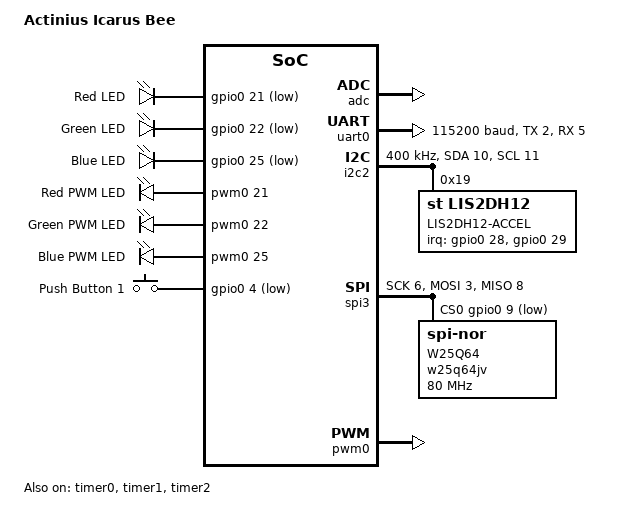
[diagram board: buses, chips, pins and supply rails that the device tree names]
/*
 * Copyright (c) 2021 Actinius
 *
 * SPDX-License-Identifier: Apache-2.0
 */

/ {
	model = "Actinius Icarus Bee";
	compatible = "actinius,icarus_bee";

	chosen {
		zephyr,console = &uart0;
		zephyr,shell-uart = &uart0;
		zephyr,uart-mcumgr = &uart0;
	};

	leds {
		compatible = "gpio-leds";

		red_led: led_0 {
			gpios = <&gpio0 21 GPIO_ACTIVE_LOW>;
			label = "Red LED";
		};

		green_led: led_1 {
			gpios = <&gpio0 22 GPIO_ACTIVE_LOW>;
			label = "Green LED";
		};

		blue_led: led_2 {
			gpios = <&gpio0 25 GPIO_ACTIVE_LOW>;
			label = "Blue LED";
		};
	};

	pwmleds {
		compatible = "pwm-leds";

		red_pwm_led: led_pwm_0 {
			pwms = <&pwm0 21>;
			label = "Red PWM LED";
		};

		green_pwm_led: led_pwm_1 {
			pwms = <&pwm0 22>;
			label = "Green PWM LED";
		};

		blue_pwm_led: led_pwm_2 {
			pwms = <&pwm0 25>;
			label = "Blue PWM LED";
		};
	};

	buttons {
		compatible = "gpio-keys";

		button0: button_0 {
			gpios = <&gpio0 4 (GPIO_PULL_UP | GPIO_ACTIVE_LOW)>;
			label = "Push Button 1";
		};
	};

	aliases {
		led0 = &red_led;
		led1 = &green_led;
		led2 = &blue_led;
		pwm-led0 = &red_pwm_led;
		pwm-led1 = &green_pwm_led;
		pwm-led2 = &blue_pwm_led;
		red-pwm-led = &red_pwm_led;
		green-pwm-led = &green_pwm_led;
		blue-pwm-led = &blue_pwm_led;
		sw0 = &button0;
		bootloader-led0 = &green_pwm_led;
	};
};

&adc {
	status ="okay";
};

&gpiote {
	status = "okay";
};

&gpio0 {
	status = "okay";
};

&uart0 {
	status = "okay";

	current-speed = <115200>;
	tx-pin = <2>;
	rx-pin = <5>;
	cts-pin = <14>;
	rts-pin = <18>;
};

&i2c2 {
	compatible = "nordic,nrf-twim";
	status = "okay";

	clock-frequency = <I2C_BITRATE_FAST>;
	sda-pin = <10>;
	scl-pin = <11>;

	lis2dh12-accel@19 {
		compatible = "st,lis2dh12", "st,lis2dh";
		reg = <0x19>;
		irq-gpios = <&gpio0 28 GPIO_ACTIVE_HIGH>,
			  <&gpio0 29 GPIO_ACTIVE_HIGH>;
		label = "LIS2DH12-ACCEL";
	};
};

&spi3 {
	compatible = "nordic,nrf-spim";
	status = "okay";

	sck-pin = <6>;
	mosi-pin = <3>;
	miso-pin = <8>;

	cs-gpios = <&gpio0 9 GPIO_ACTIVE_LOW>;

	w25q64: w25q64jv@0 {
		compatible = "jedec,spi-nor";
		reg = <0>;
		spi-max-frequency = <80000000>;
		label = "W25Q64";
		jedec-id = [ef 40 17];
		size = <0x4000000>;
		has-dpd;
		t-enter-dpd = <3500>;
		t-exit-dpd = <3500>;
	};
};

&pwm0 {
	status = "okay";

	ch0-pin = <21>;
	ch0-inverted;

	ch1-pin = <22>;
	ch1-inverted;

	ch2-pin = <25>;
	ch2-inverted;
};

&timer0 {
	status = "okay";
};

&timer1 {
	status = "okay";
};

&timer2 {
	status = "okay";
};

&flash0 {
	partitions {
		compatible = "fixed-partitions";
		#address-cells = <1>;
		#size-cells = <1>;

		boot_partition: partition@0 {
			label = "mcuboot";
			reg = <0x00000000 0x10000>;
		};
		slot0_partition: partition@10000 {
			label = "image-0";
		};
		slot0_ns_partition: partition@50000 {
			label = "image-0-nonsecure";
		};
		slot1_partition: partition@80000 {
			label = "image-1";
		};
		slot1_ns_partition: partition@c0000 {
			label = "image-1-nonsecure";
		};
		scratch_partition: partition@f0000 {
			label = "image-scratch";
			reg = <0x000f0000 0xa000>;
		};
		storage_partition: partition@fa000 {
			label = "storage";
			reg = <0x000fa000 0x00006000>;
		};
	};
};

/ {

	reserved-memory {
		#address-cells = <1>;
		#size-cells = <1>;
		ranges;

		sram0_s: image_s@20000000 {
			/* Secure image memory */
		};

		sram0_modem: image_modem@20010000 {
			/* Modem (shared) memory */
		};

		sram0_ns: image_ns@20020000 {
			/* Non-Secure image memory */
		};
	};
};

/* Include partition configuration file */
#include "actinius_icarus_bee_partition_conf.dts"
